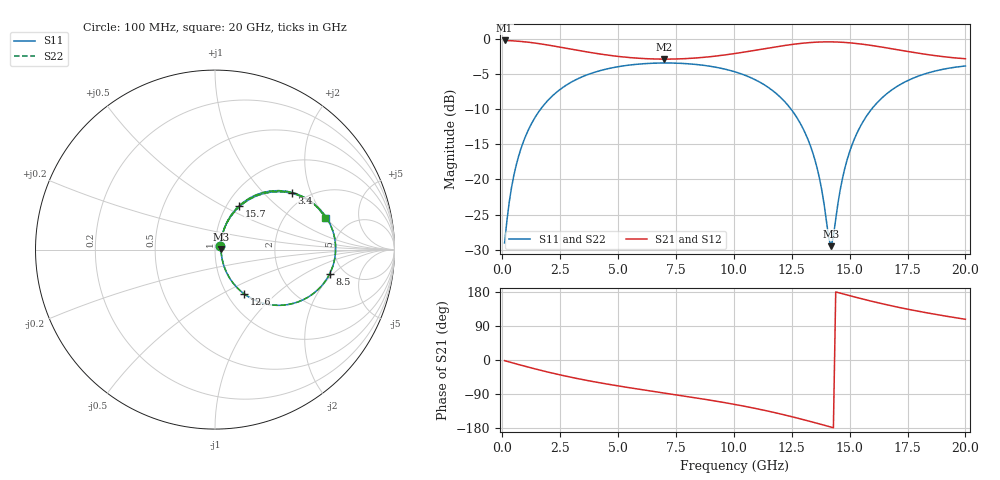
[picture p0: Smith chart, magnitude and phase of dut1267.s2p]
! Touchstone file exported from HFSS 2026.1.0
!  File:  C:/ffzhzh/LocalFiles/Ansys_Project_Files/temp_train_TSV_RDL_1267_1783328245_38704.aedt
!  Generated:  05:12:30 PM Jul  6, 2026
!  Design:  TSV_RDL
!  Project:  temp_train_TSV_RDL_1267_1783328245_38704
! Variables:
!  h_bsmrdl = 3.41um
!  h_ox = 20um
!  h_rdl = 5um
!  h_sub = 95.63um
!  h_tmrdl = 3.89um
!  h_tsv = 95.63um
!  h_via = 3um
!  l_bsmrdl = 638.39um
!  l_sub = 4048.2um
!  l_tmrdl = 408.23um
!  m_sub = 200um
!  pitch = 59.01um
!  r_tsv = 3.17um
!  s_tmrdl = 10um
!  w_bsmrdl = 20.55um
!  w_sub = 500um
!  w_tmrdl = 12.82um
!  x_tsv_center1 = 414.64um
!  x_tsv_center2 = 1073.58um
!  x_tsv_center3 = 1494.63um
!  x_tsv_center4 = 2153.57um
!  x_tsv_center5 = 2574.62um
!  x_tsv_center6 = 3233.56um
# GHz S MA R 50.000000
! Terminal data exported
! Port[1] = TM_RDL1_1_T1
! Port[2] = TM_RDL5_1_T1
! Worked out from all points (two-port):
!   200 points, 100 MHz to 20 GHz, reference 50 ohm
!   highest |S21| = -0.25 dB at 100 MHz (marker M1); lowest = -2.9 dB at 7 GHz (marker M2)
!   |S21| within 3 dB of the highest: start of sweep to end of sweep
!   lowest |S11| = -29.5 dB at 14.2 GHz (marker M3), VSWR 1.07, Z = 53.5 + j0.224 ohm
!   |S11| at or under -10 dB: start of sweep to 1.66 GHz; 12.47 GHz to 15.95 GHz (3.488 GHz wide, 24.5 % of centre)
!   |S22| runs from -29.5 to -3.5 dB; largest |S21 - S12| = 1.7e-14
!   S11 on the Smith chart (normalised r, x): 100 MHz: 1.06, +0.04; 3.4 GHz: 1.69, +1.48; 8.5 GHz: 3.84, -1.82; 12.6 GHz: 1.20, -0.65; 15.7 GHz: 1.14, +0.60; 20 GHz: 3.32, +1.96
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0.1  0.03532 35.3  0.9716 -1.8  0.9716 -1.8  0.03532 35.3
! Gamma 0 0 0 0
! Port Impedance 50 0 50 0
0.3  0.069 59.8  0.9689 -5.2  0.9689 -5.2  0.069 59.8
0.5  0.1069 65.4  0.9646 -8.6  0.9646 -8.6  0.1069 65.4
1.1  0.2201 63.7  0.945 -18.5  0.945 -18.5  0.2201 63.7
2.1  0.3831 51.8  0.8941 -33.7  0.8941 -33.7  0.3831 51.8
3.4  0.5317 36.1  0.8189 -50.9  0.8189 -50.9  0.5317 36.1
3.5  0.5403 35.0  0.8135 -52.1  0.8135 -52.1  0.5403 35.0
5.1  0.6363 18.6  0.7454 -69.3  0.7454 -69.3  0.6363 18.6
6.8  0.6716 3.1  0.7162 -85.4  0.7162 -85.4  0.6716 3.1
7  0.6721 1.3  0.7158 -87.3  0.7158 -87.3  0.6721 1.3
8.5  0.6525 -12.1  0.7324 -101.3  0.7324 -101.3  0.6525 -12.1
10.1  0.578 -27.7  0.787 -117.9  0.787 -117.9  0.578 -27.7
11.5  0.4492 -43.5  0.8582 -135.2  0.8582 -135.2  0.4492 -43.5
12.6  0.295 -56.7  0.9139 -151.1  0.9139 -151.1  0.295 -56.7
13.4  0.1563 -63.2  0.9415 -163.8  0.9415 -163.8  0.1563 -63.2
13.7  0.1015 -61.1  0.947 -168.7  0.947 -168.7  0.1016 -61.0
14.2  0.03353 3.6  0.9493 -177.0  0.9493 -177.0  0.03361 3.5
14.8  0.1212 65.9  0.9405 173.1  0.9405 173.1  0.1212 65.9
15.7  0.2769 61.2  0.9072 158.8  0.9072 158.8  0.2768 61.2
16.7  0.4181 49.6  0.855 144.4  0.855 144.4  0.418 49.6
18.1  0.5519 34.1  0.7827 127.1  0.7827 127.1  0.5518 34.0
20  0.6398 15.8  0.7204 107.5  0.7204 107.5  0.6398 15.8
